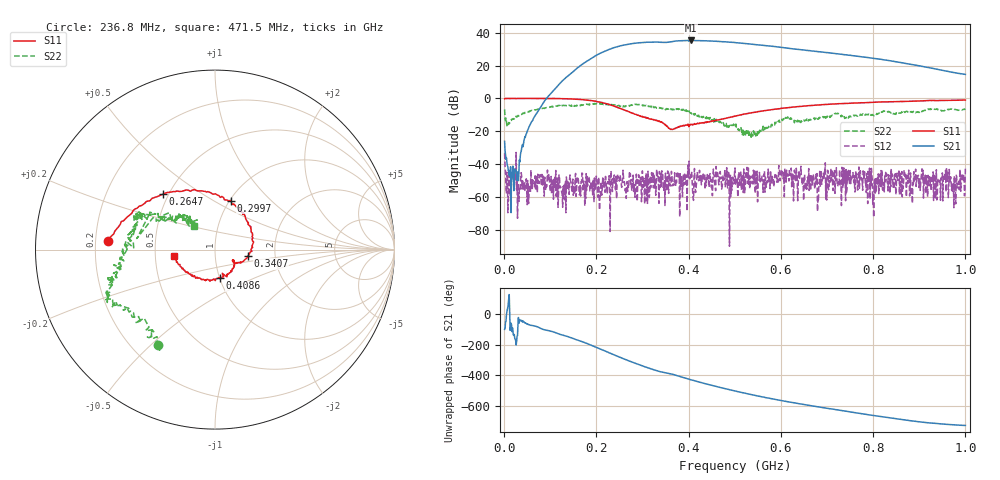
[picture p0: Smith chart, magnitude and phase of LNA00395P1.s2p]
! Created with skrf 1.9.0 (http://scikit-rf.org).
# Hz S RI R 50.0
!freq ReS11 ImS11 ReS21 ImS21 ReS12 ImS12 ReS22 ImS22
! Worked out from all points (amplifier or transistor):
!   1001 points, 1 MHz to 1 GHz, reference 50 ohm
!   highest |S21| = 35.2 dB at 404.6 MHz (marker M1)
!   |S21| within 3 dB of that: 256.5 MHz to 563.3 MHz (306.8 MHz wide, 74.8 % of centre)
!   unconditionally stable (mu >= 1): start of sweep to 52.22 MHz; 231.9 MHz to 400.5 MHz; 400.7 MHz to end of sweep (the widest 3 of 28)
!   at 166.8 MHz: K = 1.03, MAG = 34.3 dB, |S12| = -50.5 dB
!   at 500.5 MHz: K = 1.31, MAG = 34.8 dB, |S12| = -42.2 dB
!   at 1 GHz: K = 1.42, MAG = 24.5 dB, |S12| = -42.0 dB
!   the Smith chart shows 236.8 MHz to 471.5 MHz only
!   S11 on the Smith chart (normalised r, x): 236.8 MHz: 0.25, +0.04; 264.7 MHz: 0.47, +0.35; 299.7 MHz: 1.02, +0.60; 340.7 MHz: 1.45, -0.11; 408.6 MHz: 1.00, -0.33; 471.5 MHz: 0.62, -0.05
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1000000  0.9736 0.00614  -0.00788 -0.0492  -0.0213 -0.00267  0.3259 0.3321
1.08892e8  0.5205 -0.8476  -0.8832 -1.635  0.00196 0.000789  0.4225 -0.3827
1.67833e8  -0.2308 -0.8953  -10.55 -0.3033  0.00195 -0.00217  0.0473 -0.6439
2.06794e8  -0.6446 -0.4327  -16.16 16.32  4.21e-05 0.000408  -0.1737 -0.6668
2.36764e8  -0.5953 0.0492  -3.696 34.09  -0.00199 0.00192  -0.3164 -0.5324
2.64736e8  -0.289 0.309  20.42 37.95  -0.000584 0.000712  -0.4656 -0.3652
2.99701e8  0.0897 0.273  46.46 18.69  -0.00191 0.00601  -0.591 -0.2213
3.17683e8  0.1845 0.1485  51.28 2.88  -0.00143 0.00131  -0.5583 -0.1278
3.34666e8  0.2058 0.00979  49.96 -11.5  -0.00204 0.000893  -0.5212 -0.0499
3.4066e8  0.1837 -0.0352  48.32 -15.5  0.00172 0.0013  -0.5086 -0.0302
3.72628e8  0.1067 -0.0694  42.77 -35.39  0.00198 0.00298  -0.4531 0.1777
4.04596e8  0.0373 -0.1589  20.81 -53.78  0.00306 0.0043  -0.3149 0.1684
4.08592e8  0.0259 -0.1602  17.65 -54.86  -0.000677 0.0014  -0.3179 0.2019
4.37563e8  -0.1113 -0.1521  -6.06 -55.83  0.00177 0.00128  -0.1866 0.1792
4.71529e8  -0.2311 -0.0345  -27.77 -45.33  0.00176 0.000103  -0.118 0.1334
5.005e8  -0.2722 0.1081  -39.7 -30.26  0.00142 0.00761  -0.0897 0.1103
5.39461e8  -0.2145 0.3055  -43.35 -8.715  0.00119 -0.00221  -0.071 -0.0204
5.84416e8  -0.0451 0.4636  -36.55 10.57  0.00209 1.86e-05  -0.1413 -0.0521
6.67333e8  0.3287 0.5174  -13.79 23.82  0.004 -0.00173  -0.2362 -0.0294
7.53247e8  0.6252 0.3554  3.884 19.7  0.000392 -0.00355  -0.2842 0.0125
8.34166e8  0.7787 0.1294  10.45 9.54  -0.00196 -0.00325  -0.3934 0.0269
1e9  0.8078 -0.3879  5.32 -0.7734  -0.00482 0.00627  -0.3063 0.3547
